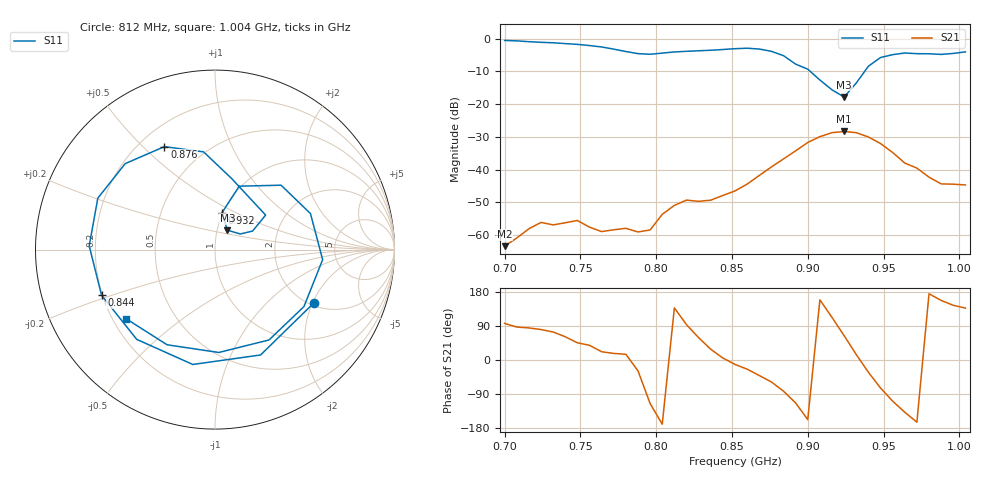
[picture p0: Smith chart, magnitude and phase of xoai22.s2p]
# Hz S RI R 50
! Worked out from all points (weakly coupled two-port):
!   39 points, 700 MHz to 1.004 GHz, reference 50 ohm
!   highest |S21| = -28.36 dB at 924 MHz (marker M1); lowest = -63.4 dB at 700 MHz (marker M2)
!   lowest |S11| = -17.8 dB at 924 MHz (marker M3), VSWR 1.29, Z = 56 + j12.3 ohm
!   |S11| at or under -10 dB: 901.6 MHz to 937.6 MHz (35.96 MHz wide, 3.91 % of centre)
!   S12 and S22 are empty: the file has one direction only
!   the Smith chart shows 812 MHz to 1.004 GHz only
!   S11 on the Smith chart (normalised r, x): 812 MHz: 2.08, -2.04; 844 MHz: 0.20, -0.19; 876 MHz: 0.30, +0.58; 932 MHz: 0.99, +0.43; 1.004 GHz: 0.25, -0.32
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7e8  0.7602 0.5469  -7.72e-05 0.000675  0 0  0 0
7.24e8  0.841 -0.2488  0.000262 0.00154  0 0  0 0
7.4e8  0.4568 -0.7034  0.00074 0.00136  0 0  0 0
7.56e8  -0.1959 -0.7585  0.00103 0.00083  0 0  0 0
7.72e8  -0.6635 -0.1909  0.00115 0.00036  0 0  0 0
7.8e8  -0.5892 0.2365  0.00123 0.000332  0 0  0 0
7.88e8  -0.2316 0.5421  0.000983 -0.000536  0 0  0 0
7.96e8  0.2581 0.5151  -0.000503 -0.00109  0 0  0 0
8.04e8  0.58 0.1556  -0.00204 -0.000378  0 0  0 0
8.12e8  0.5492 -0.2987  -0.0021 0.00192  0 0  0 0
8.28e8  -0.1237 -0.64  0.00169 0.00281  0 0  0 0
8.44e8  -0.632 -0.2543  0.00402 0.000366  0 0  0 0
8.52e8  -0.7009 0.0206  0.00463 -0.000958  0 0  0 0
8.76e8  -0.282 0.5737  0.00584 -0.00931  0 0  0 0
9e8  0.282 0.1924  -0.024 -0.01  0 0  0 0
9.08e8  0.2092 0.1033  -0.0297 0.0116  0 0  0 0
9.24e8  0.0688 0.1082  0.0166 0.0344  0 0  0 0
9.32e8  0.0393 0.206  0.0355 0.00914  0 0  0 0
9.48e8  0.3683 0.3588  0.00703 -0.024  0 0  0 0
9.56e8  0.5318 0.2007  -0.00579 -0.0173  0 0  0 0
9.8e8  0.3009 -0.5035  -0.00765 0.000698  0 0  0 0
1.004e9  -0.4943 -0.3856  -0.00427 0.00398  0 0  0 0
